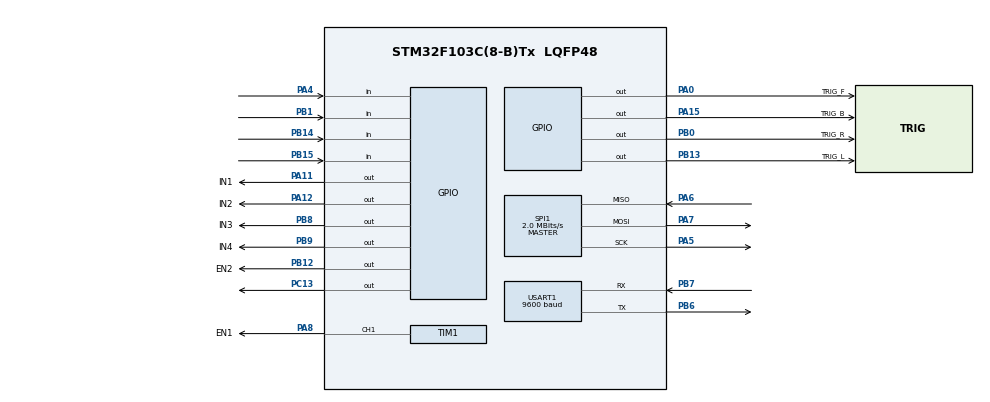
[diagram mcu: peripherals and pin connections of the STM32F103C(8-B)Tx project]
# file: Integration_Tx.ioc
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Mcu.Family=STM32F1
Mcu.Name=STM32F103C(8-B)Tx
Mcu.Package=LQFP48
NVIC.PriorityGroup=NVIC_PRIORITYGROUP_4
NVIC.TIM3_IRQn=true\:0\:0\:false\:false\:true\:true\:true\:true
NVIC.USART1_IRQn=true\:0\:0\:false\:false\:true\:true\:true\:true
PA0-WKUP.GPIO_Label=TRIG_F
PA0-WKUP.Signal=GPIO_Output
PA11.GPIO_Label=IN1
PA11.Signal=GPIO_Output
PA12.GPIO_Label=IN2
PA12.Signal=GPIO_Output
PA13.Mode=Serial_Wire
PA13.Signal=SYS_JTMS-SWDIO
PA14.Mode=Serial_Wire
PA14.Signal=SYS_JTCK-SWCLK
PA15.GPIO_Label=TRIG_B
PA15.Signal=GPIO_Output
PA4.Signal=GPIO_Input
PA5.Mode=Full_Duplex_Master
PA5.Signal=SPI1_SCK
PA6.Mode=Full_Duplex_Master
PA6.Signal=SPI1_MISO
PA7.Mode=Full_Duplex_Master
PA7.Signal=SPI1_MOSI
PA8.GPIO_Label=EN1
PA8.Signal=S_TIM1_CH1
PB0.GPIO_Label=TRIG_R
PB0.Signal=GPIO_Output
PB1.Signal=GPIO_Input
PB12.GPIO_Label=EN2
PB12.Signal=GPIO_Output
PB13.GPIO_Label=TRIG_L
PB13.Signal=GPIO_Output
PB14.Signal=GPIO_Input
PB15.Signal=GPIO_Input
PB6.Mode=Asynchronous
PB6.Signal=USART1_TX
PB7.Mode=Asynchronous
PB7.Signal=USART1_RX
PB8.GPIO_Label=IN3
PB8.Signal=GPIO_Output
PB9.GPIO_Label=IN4
PB9.Signal=GPIO_Output
PC13-TAMPER-RTC.PinState=GPIO_PIN_SET
PC13-TAMPER-RTC.Signal=GPIO_Output
PD0-OSC_IN.Mode=HSE-External-Oscillator
PD0-OSC_IN.Signal=RCC_OSC_IN
PD1-OSC_OUT.Mode=HSE-External-Oscillator
PD1-OSC_OUT.Signal=RCC_OSC_OUT
ProjectManager.HeapSize=0x200
ProjectManager.StackSize=0x400
ProjectManager.TargetToolchain=STM32CubeIDE
RCC.APB1Freq_Value=8000000
RCC.APB2Freq_Value=8000000
RCC.PLLSourceVirtual=RCC_PLLSOURCE_HSE
RCC.SYSCLKSource=RCC_SYSCLKSOURCE_HSE
RCC.TimSys_Div=SYSTICK_CLKSOURCE_HCLK_DIV8
RCC.USBFreq_Value=16000000
SH.S_TIM1_CH1.0=TIM1_CH1,PWM Generation1 CH1
SPI1.BaudRatePrescaler=SPI_BAUDRATEPRESCALER_4
SPI1.CalculateBaudRate=2.0 MBits/s
SPI1.Direction=SPI_DIRECTION_2LINES
SPI1.Mode=SPI_MODE_MASTER
SPI1.VirtualType=VM_MASTER
TIM1.Channel-PWM\ Generation1\ CH1=TIM_CHANNEL_1
TIM1.Period=256
TIM1.Prescaler=64
TIM3.Period=50000
TIM3.Prescaler=32
USART1.BaudRate=9600
USART1.VirtualMode=VM_ASYNC
VP_TIM2_VS_ClockSourceINT.Mode=Internal
VP_TIM3_VS_ClockSourceINT.Mode=Internal
board=custom

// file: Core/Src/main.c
/* USER CODE BEGIN Header */
/**
  ******************************************************************************
  * @file           : main.c
  * @brief          : Main program body
  ******************************************************************************
  * @attention
  *
  * Copyright (c) 2023 STMicroelectronics.
  * All rights reserved.
  *
  * This software is licensed under terms that can be found in the LICENSE file
  * in the root directory of this software component.
  * If no LICENSE file comes with this software, it is provided AS-IS.
  *
  ******************************************************************************
  */
/* USER CODE END Header */
#include "main.h"

/* USER CODE BEGIN Includes */
#include "HAL/dc_motor.h"
#include "HAL/Ultrasonic.h"
/* USER CODE END Includes */

SPI_HandleTypeDef hspi1;

TIM_HandleTypeDef htim1;
TIM_HandleTypeDef htim2;
TIM_HandleTypeDef htim3;

UART_HandleTypeDef huart1;

/* USER CODE BEGIN PV */

/* Car State */
uint8_t Car_State = STATE_STATIONARY ;
uint8_t Car_Direction  ;

/* BM Receive Variable */
uint8_t rxData ;
uint8_t TMR_Counter = 0 ;

/* UltraSonic */
uint16_t US_ARR[4] = {50 , 50, 50 , 50} ;
uint8_t US_Decision = 0 ;

/* USER CODE END PV */

void SystemClock_Config(void);
static void MX_GPIO_Init(void);
static void MX_TIM1_Init(void);
static void MX_USART1_UART_Init(void);
static void MX_TIM3_Init(void);
static void MX_SPI1_Init(void);
static void MX_TIM2_Init(void);
/* USER CODE BEGIN PFP */
void APP_voidAction (uint8_t Copy_u8Action , uint8_t Copy_u8Direction);
void APP_voidTakeDecision (uint8_t Copy_u8rxData);
/* USER CODE END PFP */

int main(void)
{

  /* MCU Configuration--------------------------------------------------------*/

  /* Reset of all peripherals, Initializes the Flash interface and the Systick. */
  HAL_Init();

  /* Configure the system clock */
  SystemClock_Config();

  /* Initialize all configured peripherals */
  MX_GPIO_Init();
  MX_TIM1_Init();
  MX_USART1_UART_Init();
  MX_TIM3_Init();
  MX_SPI1_Init();
  MX_TIM2_Init();
  /* USER CODE BEGIN 2 */
  HAL_voidUltraSonicInit() ;
  HAL_UART_Receive_IT(&huart1,&rxData,1); // Enabling interrupt receive

  /* USER CODE END 2 */

  /* Infinite loop */
  while (1)
  {

  }
}

void SystemClock_Config(void)
{
  RCC_OscInitTypeDef RCC_OscInitStruct = {0};
  RCC_ClkInitTypeDef RCC_ClkInitStruct = {0};

  /** Initializes the RCC Oscillators according to the specified parameters
  * in the RCC_OscInitTypeDef structure.
  */
  RCC_OscInitStruct.OscillatorType = RCC_OSCILLATORTYPE_HSE;
  RCC_OscInitStruct.HSEState = RCC_HSE_ON;
  RCC_OscInitStruct.PLL.PLLState = RCC_PLL_NONE;
  if (HAL_RCC_OscConfig(&RCC_OscInitStruct) != HAL_OK)
  {
    Error_Handler();
  }

  /** Initializes the CPU, AHB and APB buses clocks
  */
  RCC_ClkInitStruct.ClockType = RCC_CLOCKTYPE_HCLK|RCC_CLOCKTYPE_SYSCLK
                              |RCC_CLOCKTYPE_PCLK1|RCC_CLOCKTYPE_PCLK2;
  RCC_ClkInitStruct.SYSCLKSource = RCC_SYSCLKSOURCE_HSE;
  RCC_ClkInitStruct.AHBCLKDivider = RCC_SYSCLK_DIV1;
  RCC_ClkInitStruct.APB1CLKDivider = RCC_HCLK_DIV1;
  RCC_ClkInitStruct.APB2CLKDivider = RCC_HCLK_DIV1;

  if (HAL_RCC_ClockConfig(&RCC_ClkInitStruct, FLASH_LATENCY_0) != HAL_OK)
  {
    Error_Handler();
  }
}

static void MX_SPI1_Init(void)
{

  /* SPI1 parameter configuration*/
  hspi1.Instance = SPI1;
  hspi1.Init.Mode = SPI_MODE_MASTER;
  hspi1.Init.Direction = SPI_DIRECTION_2LINES;
  hspi1.Init.DataSize = SPI_DATASIZE_8BIT;
  hspi1.Init.CLKPolarity = SPI_POLARITY_LOW;
  hspi1.Init.CLKPhase = SPI_PHASE_1EDGE;
  hspi1.Init.NSS = SPI_NSS_SOFT;
  hspi1.Init.BaudRatePrescaler = SPI_BAUDRATEPRESCALER_4;
  hspi1.Init.FirstBit = SPI_FIRSTBIT_MSB;
  hspi1.Init.TIMode = SPI_TIMODE_DISABLE;
  hspi1.Init.CRCCalculation = SPI_CRCCALCULATION_DISABLE;
  hspi1.Init.CRCPolynomial = 10;
  if (HAL_SPI_Init(&hspi1) != HAL_OK)
  {
    Error_Handler();
  }

}

static void MX_TIM1_Init(void)
{

  TIM_MasterConfigTypeDef sMasterConfig = {0};
  TIM_OC_InitTypeDef sConfigOC = {0};
  TIM_BreakDeadTimeConfigTypeDef sBreakDeadTimeConfig = {0};

  htim1.Instance = TIM1;
  htim1.Init.Prescaler = 64;
  htim1.Init.CounterMode = TIM_COUNTERMODE_UP;
  htim1.Init.Period = 256;
  htim1.Init.ClockDivision = TIM_CLOCKDIVISION_DIV1;
  htim1.Init.RepetitionCounter = 0;
  htim1.Init.AutoReloadPreload = TIM_AUTORELOAD_PRELOAD_DISABLE;
  if (HAL_TIM_PWM_Init(&htim1) != HAL_OK)
  {
    Error_Handler();
  }
  sMasterConfig.MasterOutputTrigger = TIM_TRGO_RESET;
  sMasterConfig.MasterSlaveMode = TIM_MASTERSLAVEMODE_DISABLE;
  if (HAL_TIMEx_MasterConfigSynchronization(&htim1, &sMasterConfig) != HAL_OK)
  {
    Error_Handler();
  }
  sConfigOC.OCMode = TIM_OCMODE_PWM1;
  sConfigOC.Pulse = 0;
  sConfigOC.OCPolarity = TIM_OCPOLARITY_HIGH;
  sConfigOC.OCNPolarity = TIM_OCNPOLARITY_HIGH;
  sConfigOC.OCFastMode = TIM_OCFAST_DISABLE;
  sConfigOC.OCIdleState = TIM_OCIDLESTATE_RESET;
  sConfigOC.OCNIdleState = TIM_OCNIDLESTATE_RESET;
  if (HAL_TIM_PWM_ConfigChannel(&htim1, &sConfigOC, TIM_CHANNEL_1) != HAL_OK)
  {
    Error_Handler();
  }
  sBreakDeadTimeConfig.OffStateRunMode = TIM_OSSR_DISABLE;
  sBreakDeadTimeConfig.OffStateIDLEMode = TIM_OSSI_DISABLE;
  sBreakDeadTimeConfig.LockLevel = TIM_LOCKLEVEL_OFF;
  sBreakDeadTimeConfig.DeadTime = 0;
  sBreakDeadTimeConfig.BreakState = TIM_BREAK_DISABLE;
  sBreakDeadTimeConfig.BreakPolarity = TIM_BREAKPOLARITY_HIGH;
  sBreakDeadTimeConfig.AutomaticOutput = TIM_AUTOMATICOUTPUT_DISABLE;
  if (HAL_TIMEx_ConfigBreakDeadTime(&htim1, &sBreakDeadTimeConfig) != HAL_OK)
  {
    Error_Handler();
  }
  HAL_TIM_MspPostInit(&htim1);

}

static void MX_TIM2_Init(void)
{

  TIM_ClockConfigTypeDef sClockSourceConfig = {0};
  TIM_MasterConfigTypeDef sMasterConfig = {0};

  htim2.Instance = TIM2;
  htim2.Init.Prescaler = 0;
  htim2.Init.CounterMode = TIM_COUNTERMODE_UP;
  htim2.Init.Period = 65535;
  htim2.Init.ClockDivision = TIM_CLOCKDIVISION_DIV1;
  htim2.Init.AutoReloadPreload = TIM_AUTORELOAD_PRELOAD_DISABLE;
  if (HAL_TIM_Base_Init(&htim2) != HAL_OK)
  {
    Error_Handler();
  }
  sClockSourceConfig.ClockSource = TIM_CLOCKSOURCE_INTERNAL;
  if (HAL_TIM_ConfigClockSource(&htim2, &sClockSourceConfig) != HAL_OK)
  {
    Error_Handler();
  }
  sMasterConfig.MasterOutputTrigger = TIM_TRGO_RESET;
  sMasterConfig.MasterSlaveMode = TIM_MASTERSLAVEMODE_DISABLE;
  if (HAL_TIMEx_MasterConfigSynchronization(&htim2, &sMasterConfig) != HAL_OK)
  {
    Error_Handler();
  }

}

static void MX_TIM3_Init(void)
{

  TIM_ClockConfigTypeDef sClockSourceConfig = {0};
  TIM_MasterConfigTypeDef sMasterConfig = {0};

  htim3.Instance = TIM3;
  htim3.Init.Prescaler = 32;
  htim3.Init.CounterMode = TIM_COUNTERMODE_UP;
  htim3.Init.Period = 50000;
  htim3.Init.ClockDivision = TIM_CLOCKDIVISION_DIV1;
  htim3.Init.AutoReloadPreload = TIM_AUTORELOAD_PRELOAD_DISABLE;
  if (HAL_TIM_Base_Init(&htim3) != HAL_OK)
  {
    Error_Handler();
  }
  sClockSourceConfig.ClockSource = TIM_CLOCKSOURCE_INTERNAL;
  if (HAL_TIM_ConfigClockSource(&htim3, &sClockSourceConfig) != HAL_OK)
  {
    Error_Handler();
  }
  sMasterConfig.MasterOutputTrigger = TIM_TRGO_RESET;
  sMasterConfig.MasterSlaveMode = TIM_MASTERSLAVEMODE_DISABLE;
  if (HAL_TIMEx_MasterConfigSynchronization(&htim3, &sMasterConfig) != HAL_OK)
  {
    Error_Handler();
  }

}

static void MX_USART1_UART_Init(void)
{

  huart1.Instance = USART1;
  huart1.Init.BaudRate = 9600;
  huart1.Init.WordLength = UART_WORDLENGTH_8B;
  huart1.Init.StopBits = UART_STOPBITS_1;
  huart1.Init.Parity = UART_PARITY_NONE;
  huart1.Init.Mode = UART_MODE_TX_RX;
  huart1.Init.HwFlowCtl = UART_HWCONTROL_NONE;
  huart1.Init.OverSampling = UART_OVERSAMPLING_16;
  if (HAL_UART_Init(&huart1) != HAL_OK)
  {
    Error_Handler();
  }

}

static void MX_GPIO_Init(void)
{
  GPIO_InitTypeDef GPIO_InitStruct = {0};

  /* GPIO Ports Clock Enable */
  __HAL_RCC_GPIOC_CLK_ENABLE();
  __HAL_RCC_GPIOD_CLK_ENABLE();
  __HAL_RCC_GPIOA_CLK_ENABLE();
  __HAL_RCC_GPIOB_CLK_ENABLE();

  /*Configure GPIO pin Output Level */
  HAL_GPIO_WritePin(GPIOC, GPIO_PIN_13, GPIO_PIN_SET);

  /*Configure GPIO pin Output Level */
  HAL_GPIO_WritePin(GPIOA, TRIG_F_Pin|IN1_Pin|IN2_Pin|TRIG_B_Pin, GPIO_PIN_RESET);

  /*Configure GPIO pin Output Level */
  HAL_GPIO_WritePin(GPIOB, TRIG_R_Pin|EN2_Pin|TRIG_L_Pin|IN3_Pin
                          |IN4_Pin, GPIO_PIN_RESET);

  /*Configure GPIO pin : PC13 */
  GPIO_InitStruct.Pin = GPIO_PIN_13;
  GPIO_InitStruct.Mode = GPIO_MODE_OUTPUT_PP;
  GPIO_InitStruct.Pull = GPIO_NOPULL;
  GPIO_InitStruct.Speed = GPIO_SPEED_FREQ_LOW;
  HAL_GPIO_Init(GPIOC, &GPIO_InitStruct);

  /*Configure GPIO pins : TRIG_F_Pin IN1_Pin IN2_Pin TRIG_B_Pin */
  GPIO_InitStruct.Pin = TRIG_F_Pin|IN1_Pin|IN2_Pin|TRIG_B_Pin;
  GPIO_InitStruct.Mode = GPIO_MODE_OUTPUT_PP;
  GPIO_InitStruct.Pull = GPIO_NOPULL;
  GPIO_InitStruct.Speed = GPIO_SPEED_FREQ_LOW;
  HAL_GPIO_Init(GPIOA, &GPIO_InitStruct);

  /*Configure GPIO pin : PA4 */
  GPIO_InitStruct.Pin = GPIO_PIN_4;
  GPIO_InitStruct.Mode = GPIO_MODE_INPUT;
  GPIO_InitStruct.Pull = GPIO_NOPULL;
  HAL_GPIO_Init(GPIOA, &GPIO_InitStruct);

  /*Configure GPIO pins : TRIG_R_Pin EN2_Pin TRIG_L_Pin IN3_Pin
                           IN4_Pin */
  GPIO_InitStruct.Pin = TRIG_R_Pin|EN2_Pin|TRIG_L_Pin|IN3_Pin
                          |IN4_Pin;
  GPIO_InitStruct.Mode = GPIO_MODE_OUTPUT_PP;
  GPIO_InitStruct.Pull = GPIO_NOPULL;
  GPIO_InitStruct.Speed = GPIO_SPEED_FREQ_LOW;
  HAL_GPIO_Init(GPIOB, &GPIO_InitStruct);

  /*Configure GPIO pins : PB1 PB14 PB15 */
  GPIO_InitStruct.Pin = GPIO_PIN_1|GPIO_PIN_14|GPIO_PIN_15;
  GPIO_InitStruct.Mode = GPIO_MODE_INPUT;
  GPIO_InitStruct.Pull = GPIO_NOPULL;
  HAL_GPIO_Init(GPIOB, &GPIO_InitStruct);

}

/* USER CODE BEGIN 4 */

/**
  * @brief USART1 CallBack Function
  * 	   Receive Commands from BM and Start to Move in certain Direction
  * 	   Depend on the Value of rxData
  *
  * 	   Any Action taken only for 2 Seconds .
  *
  * @param Handler
  * @retval None
  */

void HAL_UART_RxCpltCallback(UART_HandleTypeDef *huart)
{
  if(huart->Instance==USART1)
  {

	  APP_voidTakeDecision (rxData) ;
  }
}

/**
  * @brief
  * 	   Receive Commands from BM and Start to Move in certain Direction
  * 	   Depend on the Value of rxData
  * 	   Any Action will be executed  for 2 Seconds only  .
  *
  * @param Data from BM -->Copy_u8rxData
  * @retval None
  */

void APP_voidTakeDecision (uint8_t Copy_u8rxData)
{
	/* Start Timer */
	HAL_TIM_Base_Start_IT(&htim3) ;

	switch (Copy_u8rxData)
	{

	case 'F' :
		Car_Direction = FORWARD ;
		Car_State = STATE_MOVING ;
		break ;

	case 'B' :
		Car_Direction = BACKWARD ;
    	Car_State = STATE_MOVING ;
    	break ;

	case 'R' :
		Car_Direction = RIGHT ;
		Car_State = STATE_MOVING ;
    	break ;

	case 'L' :
		Car_Direction = LEFT ;
		Car_State = STATE_MOVING ;
    	break ;

	case 'P' :
		HAL_voidControlMotors(SPEED_0,STOP) ;
		Car_State = STATE_STOP ;
    	break ;

	}

	HAL_UART_Receive_IT(&huart1,&rxData,1); // Enabling interrupt receive again

}

/**
  * @brief
  *  Call Back Function for Timer3
  *
  *
  *
  * @param Handler
  * @retval None
  */

void HAL_TIM_PeriodElapsedCallback(TIM_HandleTypeDef *htim)
{

	TMR_Counter ++ ;

    /* Reading of all UltraSonic */
    HAL_voidUltraSonic(US_ARR) ;

    /* Decision  */
    US_Decision = HAL_UltraSonic_Decision(US_ARR) ;

	if (US_Decision == 254)
	{

		HAL_voidControlMotors(Normal_SPEED,Car_Direction) ;
		HAL_UART_Transmit(&huart1,"D",1,100);
	}
	else if (US_Decision == STOP)
	{

		HAL_voidControlMotors(SPEED_0,STOP) ;
		HAL_UART_Transmit(&huart1,"P",1,100);
	}
	else if (US_Decision == SPEED_25)
	{
		HAL_voidControlMotors(SPEED_25,Car_Direction) ;
		HAL_UART_Transmit(&huart1,"S",1,100);
	}

	/* Delay 2 Second */
	if (TMR_Counter == 10 )
	  {
		TMR_Counter = 0 ;
		HAL_voidControlMotors(SPEED_0 , STOP ) 	  ;
		HAL_TIM_Base_Stop_IT(&htim3)  ;

	  }

}

/* USER CODE END 4 */

void Error_Handler(void)
{
  __disable_irq();
  while (1)
  {
  }
}
